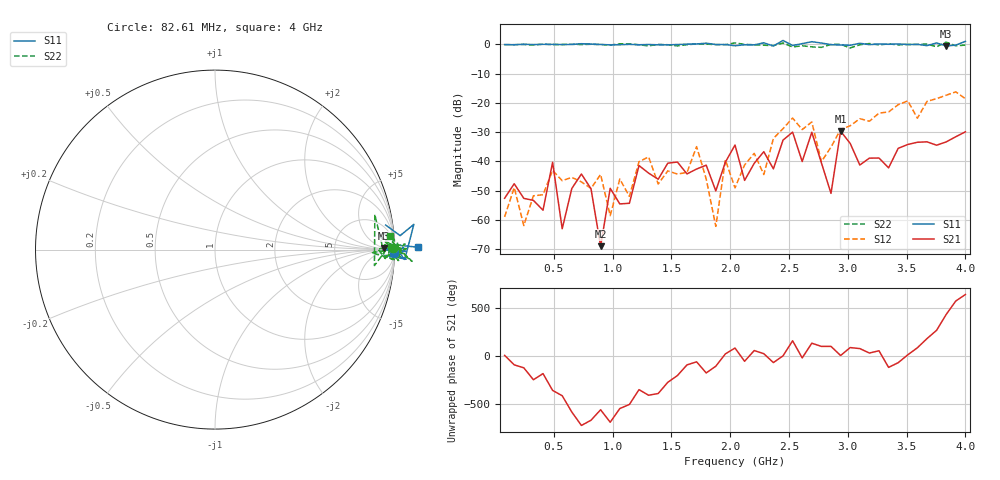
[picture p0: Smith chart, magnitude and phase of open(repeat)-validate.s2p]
!Created with skrf (http://scikit-rf.org).
# GHz S DB R 50.0
!freq dBS11 angS11 dBS21 angS21 dBS12 angS12 dBS22 angS22
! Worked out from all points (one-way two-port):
!   49 points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, 82.61 MHz to 4 GHz, reference 50 ohm
!   highest |S21| = -29.69 dB at 2.939 GHz (marker M1); lowest = -69.1 dB at 898.7 MHz (marker M2)
!   lowest |S11| = -0.5 dB at 3.837 GHz (marker M3), VSWR 33.09, Z = 1.62e+03 + j250 ohm
!   |S11| at or under -10 dB: nowhere
!   |S22| runs from -1.2 to 0.8 dB; largest |S21 - S12| = 0.15
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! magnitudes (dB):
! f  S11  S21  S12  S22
! 82.61 MHz  0.0  -52.7  -59.0  -0.1
! 409.1 MHz  0.1  -56.7  -51.4  0.1
! 490.7 MHz  0.1  -40.3  -43.1  0.0
! 572.3 MHz  0.0  -63.1  -46.6  0.0
! 735.5 MHz  0.3  -44.4  -47.0  0.0
! 898.7 MHz  0.0  -69.1  -44.5  0.0
! 980.3 MHz  -0.1  -49.2  -58.6  -0.2
! 1.144 GHz  0.0  -54.4  -52.0  0.2
! 1.225 GHz  -0.1  -41.4  -40.2  -0.1
! 1.388 GHz  -0.1  -46.1  -47.8  0.0
! 1.715 GHz  0.2  -42.6  -35.0  0.2
! 1.878 GHz  0.0  -50.1  -62.3  -0.1
! 1.96 GHz  0.0  -40.3  -39.5  -0.1
! 2.041 GHz  -0.4  -34.4  -49.1  0.6
! 2.123 GHz  -0.1  -46.5  -41.2  0.0
! 2.531 GHz  -0.4  -30.0  -25.2  -0.8
! 2.776 GHz  0.5  -40.5  -40.1  -1.0
! 2.857 GHz  -0.1  -51.0  -35.1  0.0
! 2.939 GHz  -0.2  -29.7  -29.1  0.1
! 3.429 GHz  0.2  -35.6  -20.6  -0.1
! 3.837 GHz  -0.5  -33.4  -17.4  0.8
! 4 GHz  1.1  -29.9  -18.6  -0.2
